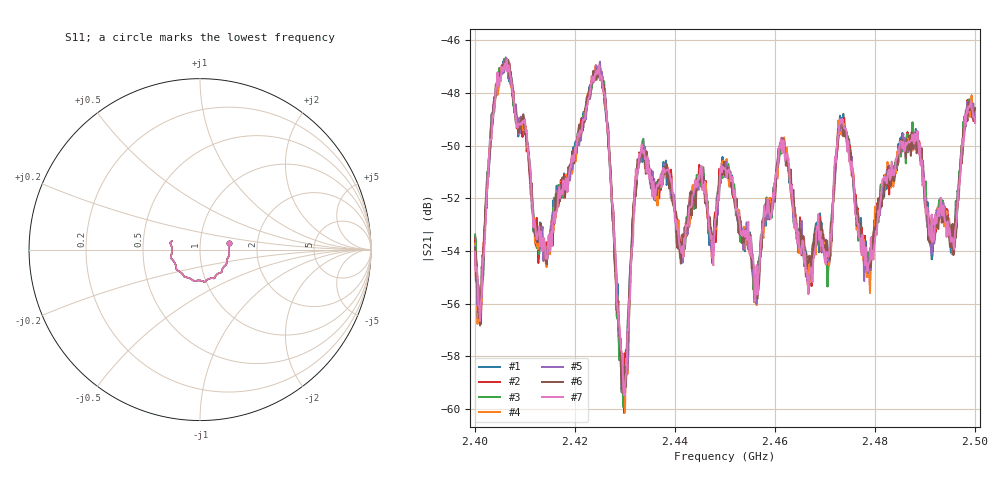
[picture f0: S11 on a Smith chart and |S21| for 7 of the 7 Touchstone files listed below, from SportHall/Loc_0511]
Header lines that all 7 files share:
# Hz S RI R
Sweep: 2.4 GHz to 2.5 GHz
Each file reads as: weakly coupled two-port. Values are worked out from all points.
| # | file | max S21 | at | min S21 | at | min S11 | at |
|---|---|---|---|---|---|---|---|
| 1 | Lab_139_2Ch1.s2p | -46.74 dB | 2.4065 GHz | -59.7 dB | 2.4298 GHz | -15.7 dB | 2.4932 GHz |
| 2 | Lab_139_4Ch1.s2p | -46.70 dB | 2.406 GHz | -60.2 dB | 2.4298 GHz | -15.7 dB | 2.493 GHz |
| 3 | Lab_139_5Ch1.s2p | -46.70 dB | 2.4058 GHz | -59.9 dB | 2.4297 GHz | -15.7 dB | 2.4933 GHz |
| 4 | Lab_139_6Ch1.s2p | -46.82 dB | 2.406 GHz | -60.1 dB | 2.43 GHz | -15.7 dB | 2.4928 GHz |
| 5 | Lab_139_7Ch1.s2p | -46.64 dB | 2.4062 GHz | -59.4 dB | 2.4295 GHz | -15.7 dB | 2.4928 GHz |
| 6 | Lab_139_8Ch1.s2p | -46.75 dB | 2.4062 GHz | -59.4 dB | 2.4297 GHz | -15.7 dB | 2.4932 GHz |
| 7 | Lab_139_10Ch1.s2p | -46.73 dB | 2.4063 GHz | -59.5 dB | 2.4298 GHz | -15.7 dB | 2.4932 GHz |
